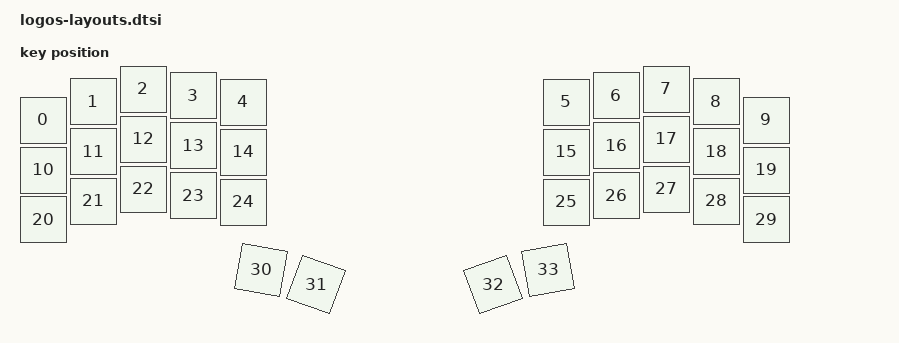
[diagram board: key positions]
#include <physical_layouts.dtsi>

/ {
    default_layout: default_layout {
        compatible = "zmk,physical-layout";
        display-name = "Default Layout";
        transform = <&default_transform>;

        keys  //                     w   h    x    y     rot    rx    ry
            = <&key_physical_attrs 100 100    0   62       0     0     0>
            , <&key_physical_attrs 100 100  100   25       0     0     0>
            , <&key_physical_attrs 100 100  200    0       0     0     0>
            , <&key_physical_attrs 100 100  300   13       0     0     0>
            , <&key_physical_attrs 100 100  400   26       0     0     0>
            , <&key_physical_attrs 100 100 1046   26       0     0     0>
            , <&key_physical_attrs 100 100 1146   13       0     0     0>
            , <&key_physical_attrs 100 100 1246    0       0     0     0>
            , <&key_physical_attrs 100 100 1346   25       0     0     0>
            , <&key_physical_attrs 100 100 1446   62       0     0     0>
            , <&key_physical_attrs 100 100    0  162       0     0     0>
            , <&key_physical_attrs 100 100  100  125       0     0     0>
            , <&key_physical_attrs 100 100  200  100       0     0     0>
            , <&key_physical_attrs 100 100  300  113       0     0     0>
            , <&key_physical_attrs 100 100  400  126       0     0     0>
            , <&key_physical_attrs 100 100 1046  126       0     0     0>
            , <&key_physical_attrs 100 100 1146  113       0     0     0>
            , <&key_physical_attrs 100 100 1246  100       0     0     0>
            , <&key_physical_attrs 100 100 1346  125       0     0     0>
            , <&key_physical_attrs 100 100 1446  162       0     0     0>
            , <&key_physical_attrs 100 100    0  261       0     0     0>
            , <&key_physical_attrs 100 100  100  224       0     0     0>
            , <&key_physical_attrs 100 100  200  200       0     0     0>
            , <&key_physical_attrs 100 100  300  213       0     0     0>
            , <&key_physical_attrs 100 100  400  226       0     0     0>
            , <&key_physical_attrs 100 100 1046  226       0     0     0>
            , <&key_physical_attrs 100 100 1146  213       0     0     0>
            , <&key_physical_attrs 100 100 1246  200       0     0     0>
            , <&key_physical_attrs 100 100 1346  224       0     0     0>
            , <&key_physical_attrs 100 100 1446  261       0     0     0>
            , <&key_physical_attrs 100 100  436  362    1000   486   412>
            , <&key_physical_attrs 100 100  546  391    2000   596   441>
            , <&key_physical_attrs 100 100  900  391 (-2000)   950   441>
            , <&key_physical_attrs 100 100 1010  362 (-1000)  1060   412>
            ;
    };
};
